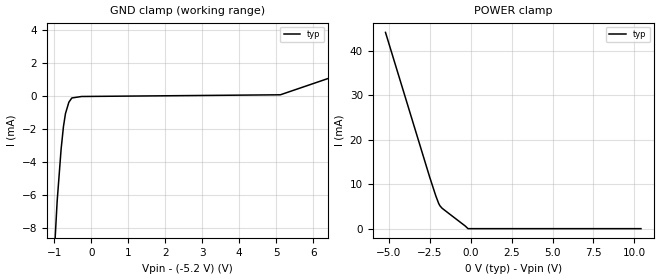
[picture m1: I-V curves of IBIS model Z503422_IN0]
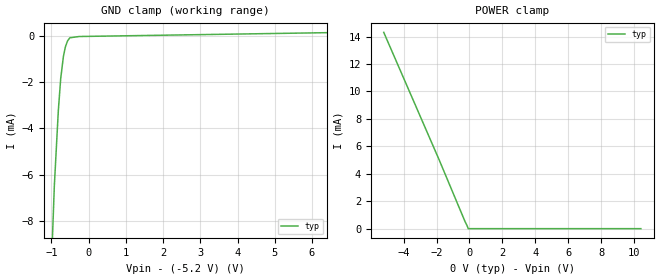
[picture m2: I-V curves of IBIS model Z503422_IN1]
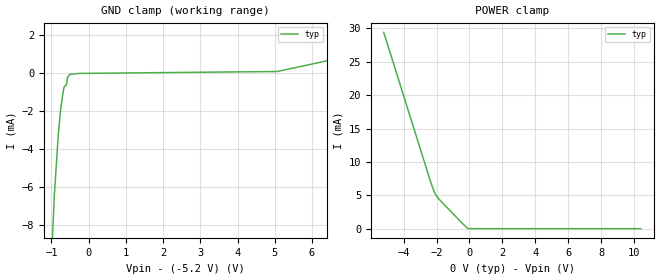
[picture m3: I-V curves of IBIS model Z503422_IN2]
| YOU ARE ONLY AUTHORIZED TO USE THIS SOFTWARE
| ACCORDING TO LICENSOR'S LICENSE RESTRICTIONS.
[IBIS Ver] 3.1
[File Name] mc10e256fn.ibs
[File Rev] 2.0
[Source] Measured and created by ICX Technology
[Date] Friday 7/14/00 9:07:49 AM
[Copyright]
| (C) COPYRIGHT 1993-2000
| MENTOR GRAPHICS CORPORATION
| ICX STANDARD LIBRARY, ICX PROJECT MODELING,
| ICX CUSTOM MODELING, ICX VENDOR MODEL
| ALL RIGHTS RESERVED.
| THE FOLLOWING ARE TRADEMARKS OR SERVICE MARKS OF
| MENTOR GRAPHICS CORPORATION:ICX (R), ICX STANDARD
| LIBRARY(R), ICX PROJECT MODELING(R), ICX CUSTOM
| MODELING(R), qualityIBIS(TM), MODELVIEWER(TM),
| AND MODELEDITOR(TM)
| ALL COPIES OF SOFTWARE, INCLUDING BUT NOT LIMITED TO
| ANY MODIFICATIONS, ENHANCEMENTS OR DERIVATIVE WORKS,
| MUST CONTAIN ALL MENTOR GRAPHICS CORPORATION'S
| NOTICES AND LEGENDS, INCLUDING THOSE EMBEDDED IN
| SOFTWARE AND THOSE AFFIXED TO SOFTWARE MEDIUM
| AND CONTAINER, AS RECEIVED FROM MENTOR GRAPHICS
| CORPORATION.
|  ZAP Model Builder 2.7
[Component] MC10E256FN
[Manufacturer] OnSemiconductor
[Package]
| variable   typ   min   max
R_pkg  .083ohms NA NA
L_pkg  4.299nH NA NA
C_pkg  1.045pF NA NA
[Pin] signal_name  model_name  R_pin  L_pin C_pin
1 VEE POWER .08 3.94n .925p
2 LEN Z503422_IN0 .082 4.14n .995p
3 MR Z503422_IN1 .084 4.354n 1.065p
4 D1C Z503422_IN2 .086 4.583n 1.135p
5 D1D Z503422_IN2 .086 4.583n 1.135p
6 D0A Z503422_IN2 .084 4.354n 1.065p
7 D0B Z503422_IN2 .082 4.14n .995p
8 D0C Z503422_IN2 .08 3.94n .925p
9 D0D Z503422_IN2 .082 4.14n .995p
10 VCCO POWER .084 4.354n 1.065p
11 Q0 Z503422_OUT0 .086 4.583n 1.135p
12 _Q0 Z503422_OUT1 .086 4.583n 1.135p
13 VCCO POWER .084 4.354n 1.065p
14 Q1 Z503422_OUT0 .082 4.14n .995p
15 _Q1 Z503422_OUT1 .08 3.94n .925p
16 VCC POWER .082 4.14n .995p
17 Q2 Z503422_OUT0 .084 4.354n 1.065p
18 _Q2 Z503422_OUT1 .086 4.583n 1.135p
19 VCCO POWER .086 4.583n 1.135p
20 D2A Z503422_IN2 .084 4.354n 1.065p
21 D2B Z503422_IN2 .082 4.14n .995p
22 D2C Z503422_IN2 .08 3.94n .925p
23 D2D Z503422_IN2 .082 4.14n .995p
24 D1A Z503422_IN2 .084 4.354n 1.065p
25 D1B Z503422_IN2 .086 4.583n 1.135p
26 SEL1A Z503422_IN3 .086 4.583n 1.135p
27 SEL1B Z503422_IN3 .084 4.354n 1.065p
28 SEL2 Z503422_IN4 .082 4.14n .995p
| Models and submodels in the file (7): Z503422_IN0 (Input_ECL), Z503422_IN1 (Input_ECL), Z503422_IN2 (Input_ECL), Z503422_IN3 (Input_ECL), Z503422_IN4 (Input_ECL), Z503422_OUT0 (Output_ECL), Z503422_OUT1 (Output_ECL)
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| (C) COPYRIGHT 1993-2000
| MENTOR GRAPHICS CORPORATION
| ICX STANDARD LIBRARY, ICX PROJECT MODELING,
| ICX CUSTOM MODELING, ICX VENDOR MODEL
| ALL RIGHTS RESERVED.
| THE FOLLOWING ARE TRADEMARKS OR SERVICE MARKS OF
| MENTOR GRAPHICS CORPORATION:ICX (R), ICX STANDARD
| LIBRARY(R), ICX PROJECT MODELING(R), ICX CUSTOM
| MODELING(R), qualityIBIS(TM), MODELVIEWER(TM),
| AND MODELEDITOR(TM)
| ALL COPIES OF SOFTWARE, INCLUDING BUT NOT LIMITED TO
| ANY MODIFICATIONS, ENHANCEMENTS OR DERIVATIVE WORKS,
| MUST CONTAIN ALL MENTOR GRAPHICS CORPORATION'S
| NOTICES AND LEGENDS, INCLUDING THOSE EMBEDDED IN
| SOFTWARE AND THOSE AFFIXED TO SOFTWARE MEDIUM
| AND CONTAINER, AS RECEIVED FROM MENTOR GRAPHICS
| CORPORATION.
| Model Application Version 1.89 2/18/99.
[Model] Z503422_IN0
Model_type Input_ECL
Vinl = -1.480V
Vinh = -1.130V
C_comp 4.000pF NA NA
| variable typ   min   max
[Voltage Range] -5.200V NA NA
[GND Clamp Reference] -5.200V NA NA
[POWER Clamp Reference] 0.000V NA NA
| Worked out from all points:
|   GND clamp passes 1 mA (typ) near -0.69 V on its own axis
[GND Clamp]
-5.2V     -251mA     NA         NA
-1.078V   -12.81mA   NA         NA
-923mV    -6.398mA   NA         NA
-816mV    -3.224mA   NA         NA
-752mV    -1.841mA   NA         NA
-698mV    -1.06mA    NA         NA
-606mV    -366.2uA   NA         NA
-525mV    -108.7uA   NA         NA
-262.5mV  -19.87uA   NA         NA
5.113V    83.38uA    NA         NA
10.4V     4.14mA     NA         NA
[POWER Clamp]
-5.2V     44.21mA    NA         NA
-2.505V   11.65mA    NA         NA
-2.132V   7.43mA     NA         NA
-1.953V   5.682mA    NA         NA
-1.875V   5.151mA    NA         NA
-1.746V   4.606mA    NA         NA
-1.343V   3.456mA    NA         NA
-322.3mV  573.1uA    NA         NA
-161.1mV  0A         NA         NA
10.4V     0A         NA         NA
| (C) COPYRIGHT 1993-2000
| MENTOR GRAPHICS CORPORATION
| ICX STANDARD LIBRARY, ICX PROJECT MODELING,
| ICX CUSTOM MODELING, ICX VENDOR MODEL
| ALL RIGHTS RESERVED.
| THE FOLLOWING ARE TRADEMARKS OR SERVICE MARKS OF
| MENTOR GRAPHICS CORPORATION:ICX (R), ICX STANDARD
| LIBRARY(R), ICX PROJECT MODELING(R), ICX CUSTOM
| MODELING(R), qualityIBIS(TM), MODELVIEWER(TM),
| AND MODELEDITOR(TM)
| ALL COPIES OF SOFTWARE, INCLUDING BUT NOT LIMITED TO
| ANY MODIFICATIONS, ENHANCEMENTS OR DERIVATIVE WORKS,
| MUST CONTAIN ALL MENTOR GRAPHICS CORPORATION'S
| NOTICES AND LEGENDS, INCLUDING THOSE EMBEDDED IN
| SOFTWARE AND THOSE AFFIXED TO SOFTWARE MEDIUM
| AND CONTAINER, AS RECEIVED FROM MENTOR GRAPHICS
| CORPORATION.
| Model Application Version 1.89 2/18/99.
[Model] Z503422_IN1
Model_type Input_ECL
Vinl = -1.480V
Vinh = -1.130V
C_comp 4.000pF NA NA
| variable typ   min   max
[Voltage Range] -5.200V NA NA
[GND Clamp Reference] -5.200V NA NA
[POWER Clamp Reference] 0.000V NA NA
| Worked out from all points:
|   GND clamp passes 1 mA (typ) near -0.69 V on its own axis
[GND Clamp]
-5.2V     -275.4mA   NA         NA
-1.074V   -13.22mA   NA         NA
-923mV    -6.487mA   NA         NA
-816mV    -3.242mA   NA         NA
-752mV    -1.844mA   NA         NA
-679mV    -878.4uA   NA         NA
-625mV    -460.3uA   NA         NA
-567mV    -205.3uA   NA         NA
-505mV    -72.58uA   NA         NA
-252.5mV  -18.63uA   NA         NA
10.4V     247.4uA    NA         NA
[POWER Clamp]
-5.2V     14.3mA     NA         NA
-1.851V   5.046mA    NA         NA
-282.9mV  557.2uA    NA         NA
-149.4mV  229.1uA    NA         NA
-74.7mV   0A         NA         NA
10.4V     0A         NA         NA
| (C) COPYRIGHT 1993-2000
| MENTOR GRAPHICS CORPORATION
| ICX STANDARD LIBRARY, ICX PROJECT MODELING,
| ICX CUSTOM MODELING, ICX VENDOR MODEL
| ALL RIGHTS RESERVED.
| THE FOLLOWING ARE TRADEMARKS OR SERVICE MARKS OF
| MENTOR GRAPHICS CORPORATION:ICX (R), ICX STANDARD
| LIBRARY(R), ICX PROJECT MODELING(R), ICX CUSTOM
| MODELING(R), qualityIBIS(TM), MODELVIEWER(TM),
| AND MODELEDITOR(TM)
| ALL COPIES OF SOFTWARE, INCLUDING BUT NOT LIMITED TO
| ANY MODIFICATIONS, ENHANCEMENTS OR DERIVATIVE WORKS,
| MUST CONTAIN ALL MENTOR GRAPHICS CORPORATION'S
| NOTICES AND LEGENDS, INCLUDING THOSE EMBEDDED IN
| SOFTWARE AND THOSE AFFIXED TO SOFTWARE MEDIUM
| AND CONTAINER, AS RECEIVED FROM MENTOR GRAPHICS
| CORPORATION.
| Model Application Version 1.89 2/18/99.
[Model] Z503422_IN2
Model_type Input_ECL
Vinl = -1.480V
Vinh = -1.130V
C_comp 4.000pF NA NA
| variable typ   min   max
[Voltage Range] -5.200V NA NA
[GND Clamp Reference] -5.200V NA NA
[POWER Clamp Reference] 0.000V NA NA
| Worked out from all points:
|   GND clamp passes 1 mA (typ) near -0.69 V on its own axis
[GND Clamp]
-5.2V     -279.4mA   NA         NA
-1.074V   -13.18mA   NA         NA
-923mV    -6.461mA   NA         NA
-816mV    -3.236mA   NA         NA
-751mV    -1.864mA   NA         NA
-679mV    -903.1uA   NA         NA
-659mV    -736.3uA   NA         NA
-594mV    -593.5uA   NA         NA
-567mV    -212.5uA   NA         NA
-506mV    -73.03uA   NA         NA
5.068V    82.09uA    NA         NA
10.4V     2.329mA    NA         NA
[POWER Clamp]
-5.2V     29.4mA     NA         NA
-2.363V   7.058mA    NA         NA
-2.158V   5.647mA    NA         NA
-2.024V   4.954mA    NA         NA
-1.795V   4.278mA    NA         NA
-419.7mV  766.6uA    NA         NA
-149.3mV  141.4uA    NA         NA
-74.65mV  0A         NA         NA
10.4V     0A         NA         NA
